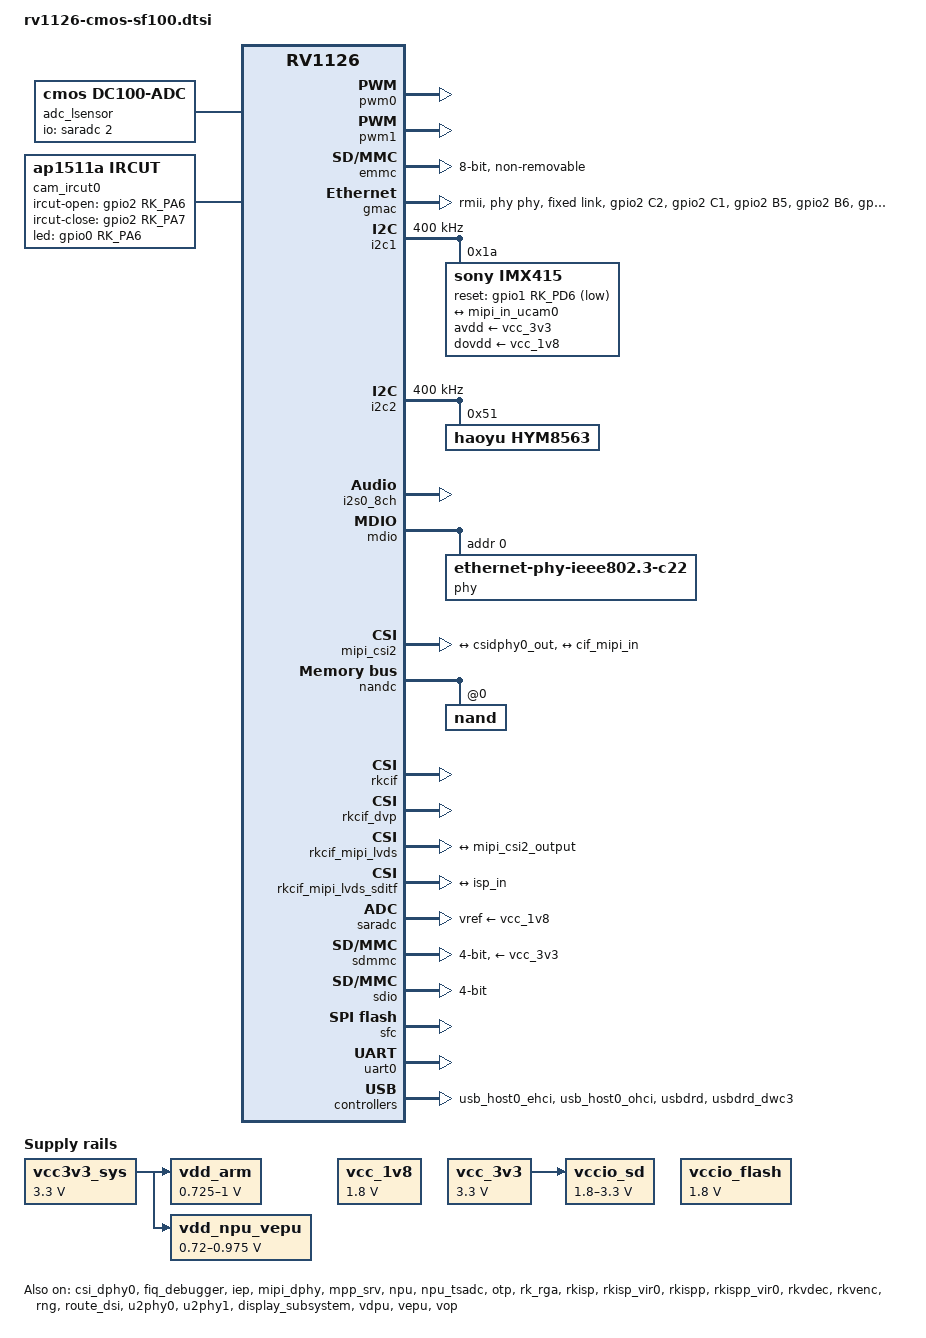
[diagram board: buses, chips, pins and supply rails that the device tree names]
// SPDX-License-Identifier: (GPL-2.0+ OR MIT)
/*
 * Copyright (c) 2023 Cmosmediatech Co., Ltd.
 */
#include <dt-bindings/display/drm_mipi_dsi.h>
#include <dt-bindings/input/input.h>

/ {
	chosen {
        bootargs = "earlycon=uart8250,mmio32,0xff570000 console=ttyFIQ0 root=PARTUUID=614e0000-0000 rootwait snd_aloop.index=7 vmalloc=400M";
	};

        vcc3v3_sys: vcc33sys {
		compatible = "regulator-fixed";
		regulator-name = "vcc3v3_sys";
		regulator-always-on;
		regulator-boot-on;
		regulator-min-microvolt = <3300000>;
		regulator-max-microvolt = <3300000>;
        regulator-state-mem {
			regulator-on-in-suspend;
			regulator-suspend-microvolt = <3300000>;
		};
	};

    vcc_1v8: vcc-1v8 {
		compatible = "regulator-fixed";
		regulator-name = "vcc_1v8";
		regulator-always-on;
		regulator-boot-on;
		regulator-min-microvolt = <1800000>;
		regulator-max-microvolt = <1800000>;
	};

    vcc_3v3: vcc-3v3 {
		compatible = "regulator-fixed";
		regulator-name = "vcc_3v3";
		regulator-always-on;
		regulator-boot-on;
		regulator-min-microvolt = <3300000>;
		regulator-max-microvolt = <3300000>;
	};

    vccio_flash: vccio-flash {
		compatible = "regulator-fixed";
		regulator-name = "vccio_flash";
		regulator-always-on;
		regulator-boot-on;
		regulator-min-microvolt = <1800000>;
		regulator-max-microvolt = <1800000>;
		//vin-supply = <&vcc_1v8>;
	};
    /*
    vccio_sd: vccio-sd {
		compatible = "regulator-fixed";
        regulator-always-on;
		regulator-boot-on;
		regulator-name = "vccio_sd";
		regulator-min-microvolt = <1800000>;
		regulator-max-microvolt = <3300000>;
		//gpios = <&gpio0 RK_PA5 GPIO_ACTIVE_HIGH>;
        //gpios = <&gpio1 RK_PB0 GPIO_ACTIVE_HIGH>;
		//states = <3300000 1 1800000 0>;
	};
    */
    vccio_sd: vccio-sd {
        compatible = "regulator-gpio";
        gpio = <&gpio2 RK_PD4 GPIO_ACTIVE_LOW>;
        pinctrl-names = "default";
        pinctrl-0 = <&sdmmc_pwr>;
        regulator-name = "vccio_sd";
        regulator-min-microvolt = <1800000>;
        regulator-max-microvolt = <3300000>;
        startup-delay-us = <100000>;
        vin-supply = <&vcc_3v3>;
        states = <3300000 0
			  1800000 1>;
    };
    /*
    vccio_sd: vccio-sd {
		compatible = "regulator-gpio";
		regulator-name = "vccio_sd";
		regulator-min-microvolt = <1800000>;
		regulator-max-microvolt = <3300000>;
		gpios = <&gpio2 RK_PD4 GPIO_ACTIVE_HIGH>;
		states = <3300000 1
			  1800000 0>;
	};
    */
    /*
    vccio_sd: vccio-sd {
		compatible = "regulator-fixed";
		regulator-name = "vccio_sd";
		regulator-min-microvolt = <3300000>;
		regulator-max-microvolt = <3300000>;
		//gpios = <&gpio0 RK_PA3 GPIO_ACTIVE_HIGH>;
		//states = <3300000 1
		//	  1800000 0>;
	};
    
	vcc_sd: vcc-sd {
		compatible = "regulator-fixed";
		//pinctrl-names = "default";
		//pinctrl-0 = <&vccsd_en>;
		regulator-name = "vcc_sd";
		regulator-min-microvolt = <3300000>;
		regulator-max-microvolt = <3300000>;
		//gpio = <&gpio2 RK_PD4 GPIO_ACTIVE_HIGH>;
	};
    */
    
    vdd_arm: vdd-arm {
		compatible = "pwm-regulator";
		pwms = <&pwm0 0 5000 1>;
		regulator-name = "vdd_arm";
		regulator-min-microvolt = <725000>;
		regulator-max-microvolt = <1000000>;
		regulator-init-microvolt = <824000>;
		regulator-always-on;
		regulator-boot-on;
		regulator-settling-time-up-us = <250>;
		pwm-supply = <&vcc3v3_sys>;
		status = "okay";
        regulator-state-mem {
			regulator-off-in-suspend;
		};
	};
    /*
    vdd_arm_fix: vdd-arm-fix {
		compatible = "regulator-fixed";
		regulator-name = "vdd_arm_fix";
		regulator-always-on;
		regulator-boot-on;
		regulator-min-microvolt = <1000000>;
		regulator-max-microvolt = <1000000>;
	};
    */
    
    /*
     vdd_arm: vdd-arm {
		compatible = "regulator-fixed";
		regulator-name = "vdd_arm";
		regulator-always-on;
		regulator-boot-on;
		regulator-min-microvolt = <1350000>;
		regulator-max-microvolt = <1350000>;
	};
    */

	vdd_npu_vepu: vdd-npu-vepu {
		compatible = "pwm-regulator";
		pwms = <&pwm1 0 5000 0>;
		regulator-name = "vdd_npu_vepu";
		//regulator-min-microvolt = <650000>;
		//regulator-max-microvolt = <950000>;
		//regulator-init-microvolt = <800000>;
        //regulator-min-microvolt = <720000>;
		//regulator-max-microvolt = <880000>;
		//regulator-init-microvolt = <825000>;
        regulator-min-microvolt = <720000>;
		regulator-max-microvolt = <975000>;
		regulator-init-microvolt = <824000>;
		regulator-always-on;
		regulator-boot-on;
		regulator-settling-time-up-us = <250>;
		pwm-supply = <&vcc3v3_sys>;
		status = "okay";
        regulator-state-mem {
    		regulator-off-in-suspend;
		};
	};
/*
    vdd_logic_npu_vepu_fixed: vdd-logic-npu-vepu-fixed {
		compatible = "regulator-fixed";
		regulator-name = "vdd_logic_npu_vepu-fixed";
		regulator-always-on;
		regulator-boot-on;
		//regulator-min-microvolt = <825000>;
		//regulator-max-microvolt = <825000>;
        regulator-min-microvolt = <950000>;
		regulator-max-microvolt = <950000>;
	};
    */

    adc_lsensor: adc-lsensor {
		status = "okay";
		compatible = "cmos,dc100-adc";
		io-channels = <&saradc 2>;
		io-channel-names = "lsensor";
		//poll-interval = <100>;
	};

    cam_ircut0: cam-ircut0 {
		status = "okay";
		compatible = "ap1511a,ircut";
        //pinctrl-names = "rockchip,ir_default";
        //pinctrl-0 = <&irled_en>;

		ircut-open-gpios = <&gpio2 RK_PA6 GPIO_ACTIVE_HIGH>;
		ircut-close-gpios  = <&gpio2 RK_PA7 GPIO_ACTIVE_HIGH>;
        led-gpios = <&gpio0 RK_PA6 GPIO_ACTIVE_HIGH>;
        //tof-gpios = <&gpio0 RK_PA7 GPIO_ACTIVE_HIGH>;
		rockchip,camera-module-index = <0>;
		rockchip,camera-module-facing = "front";
	};

};

&pwm0 {
	status = "okay";
    //status = "disabled";
	pinctrl-names = "active";
	pinctrl-0 = <&pwm0m0_pins_pull_down>;
};


&pwm1 {
	status = "okay";
    //status = "disabled";
	pinctrl-names = "active";
	pinctrl-0 = <&pwm1m0_pins_pull_down>;
};


&cpu0 {
	cpu-supply = <&vdd_arm>;
    //cpu-supply = <&vdd_arm_fix>;
    status = "okay";
};

&cpu_tsadc {
	//rockchip,hw-tshut-mode = <0>; /* tshut mode 0:CRU 1:GPIO */
	//rockchip,hw-tshut-polarity = <0>; /* tshut polarity 0:LOW 1:HIGH */
	//pinctrl-names = "gpio", "otpout";
	//pinctrl-0 = <&tsadcm0_shut>;
	//pinctrl-1 = <&tsadc_shutorg>;	
    status = "okay";
};

&csi_dphy0 {
	status = "okay";

	ports {
		#address-cells = <1>;
		#size-cells = <0>;
		port@0 {
			reg = <0>;
			#address-cells = <1>;
			#size-cells = <0>;

			mipi_in_ucam0: endpoint@1 {
				reg = <1>;
				remote-endpoint = <&ucam_out0>;
				data-lanes = <1 2 3 4>;
				//data-lanes = <1 2>;
			};
		};

		port@1 {
			reg = <1>;
			#address-cells = <1>;
			#size-cells = <0>;

			csidphy0_out: endpoint@0 {
				reg = <0>;
				remote-endpoint = <&mipi_csi2_input>;
				data-lanes = <1 2 3 4>;
				//data-lanes = <1 2>;
			};
		};
        
	};
};

&emmc {
	bus-width = <8>;
	cap-mmc-highspeed;
	non-removable;
	mmc-hs200-1_8v;
	rockchip,default-sample-phase = <90>;
	supports-emmc;
	/delete-property/ pinctrl-names;
	/delete-property/ pinctrl-0;
	status = "okay";
};

&fiq_debugger {
	status = "okay";
};

&gmac {
	phy-mode = "rmii";
	clock_in_out = "output";
 
	snps,reset-gpio = <&gpio2 RK_PB2 GPIO_ACTIVE_LOW>;
    //snps,reset-gpio = <&gpio2 RK_PC5 GPIO_ACTIVE_LOW>;
	snps,reset-active-low;
	snps,reset-delays-us = <0 50000 10000>;
	
	assigned-clocks = <&cru CLK_GMAC_SRC_M1>, <&cru CLK_GMAC_SRC>, <&cru CLK_GMAC_TX_RX>;
    //assigned-clocks = <&cru CLK_GMAC_SRC>, <&cru CLK_GMAC_TX_RX>, <&cru CLK_GMAC_ETHERNET_OUT>;
	assigned-clock-rates = <0>, <50000000>;
	assigned-clock-parents = <&cru CLK_GMAC_RGMII_M1>, <&cru CLK_GMAC_SRC_M1>, <&cru RMII_MODE_CLK>;
    //assigned-clock-parents = <&cru CLK_GMAC_SRC_M1>, <&cru RMII_MODE_CLK>;
	pinctrl-names = "default";
	pinctrl-0 = <&rmiim1_pins &gmac_clk_m1_pins &gmac_clk_m1_drv_level0_pins>; 
	
	tx_delay = <0x30>;
	rx_delay = <0x10>;

	phy-handle = <&phy>;
	status = "okay";
	
	fixed-link {
		speed = <100>;
		full-duplex;
	};
};

//cam
&i2c1 {
	status = "okay";
	clock-frequency = <400000>;
    //rockchip,pins = <0 RK_PA7 0 &pcfg_pull_up>;

	imx415: imx415@1a {
		compatible = "sony,imx415";
		reg = <0x1a>;
		clocks = <&cru CLK_MIPICSI_OUT>;
		clock-names = "xvclk";
		power-domains = <&power RV1126_PD_VI>;
		pinctrl-names = "rockchip,camera_default";
		pinctrl-0 = <&mipicsi_clk0>;
		pinctrl-1 = <&imx415_rst>;
        //pinctrl-2 = <&tof_en>;
        //rockchip,pins = <0 RK_PA7 0 &pcfg_pull_up>;

		avdd-supply = <&vcc_3v3>;    //3.3v
		dovdd-supply = <&vcc_1v8>;  //1.8v
		//dvdd-supply = <&vcc_dovdd>;    //1.2v

		//rockchip,pins = <1 RK_PD6 0 &pcfg_pull_up>;
		//pwdn-gpios = <&gpio1 RK_PD4 GPIO_ACTIVE_HIGH>;
		reset-gpios = <&gpio1 RK_PD6 GPIO_ACTIVE_LOW>;
		rockchip,camera-module-index = <0>;
		rockchip,camera-module-facing = "front";
		rockchip,camera-module-name = "YT-RK415-V1";
		rockchip,camera-module-lens-name = "IR0147-60IRC-8M-F20";
		ir-cut = <&cam_ircut0>;
		port {
			ucam_out0: endpoint {
				remote-endpoint = <&mipi_in_ucam0>;
				data-lanes = <1 2 3 4>;
				//data-lanes = <1 2>;
			};
		};
	};
};

//rtc
&i2c2 {
	status = "okay";
	pinctrl-names = "default";
	pinctrl-0 = <&i2c2_xfer>;
	clock-frequency = <400000>;
	i2c-scl-rising-time-ns = <138>;
	i2c-scl-falling-time-ns = <4>;
	
	hym8563: hym8563@51 {
		compatible = "haoyu,hym8563";
		reg = <0x51>;
		#clock-cells = <0>;
		status = "okay";
	};	
};

&i2s0_8ch {
	status = "okay";
	#sound-dai-cells = <0>;
	rockchip,clk-trcm = <1>;
	rockchip,i2s-rx-route = <3 1 2 0>;
	pinctrl-names = "default";
	pinctrl-0 = <&i2s0m0_sclk_tx
		     &i2s0m0_lrck_tx
		     &i2s0m0_sdo0
		     &i2s0m0_sdo1_sdi3>;
};

&iep {
	status = "okay";
};

&iep_mmu {
	status = "okay";
};


&mdio {
    status = "okay";
	phy: phy@0 {
        status = "okay";
		compatible = "ethernet-phy-ieee802.3-c22";
		reg = <0x0>;
		//clocks = <&cru CLK_GMAC_ETHERNET_OUT>;
	};
};

&mipi_csi2 {
	status = "okay";

	ports {
		#address-cells = <1>;
		#size-cells = <0>;

		port@0 {
			reg = <0>;
			#address-cells = <1>;
			#size-cells = <0>;

			mipi_csi2_input: endpoint@1 {
				reg = <1>;
				remote-endpoint = <&csidphy0_out>;
				data-lanes = <1 2 3 4>;
				//data-lanes = <1 2>;
			};
		};

		port@1 {
			reg = <1>;
			#address-cells = <1>;
			#size-cells = <0>;

			mipi_csi2_output: endpoint@0 {
				reg = <0>;
				remote-endpoint = <&cif_mipi_in>;
				data-lanes = <1 2 3 4>;
				//data-lanes = <1 2>;
			};
		};
	};
};

&mipi_dphy {
	status = "okay";
};

&mpp_srv {
	status = "okay";
};

&nandc {
	/delete-property/ pinctrl-names;
	/delete-property/ pinctrl-0;
	#address-cells = <1>;
	#size-cells = <0>;

	nand@0 {
		reg = <0>;
		nand-bus-width = <8>;
		nand-ecc-mode = "hw";
		nand-ecc-strength = <16>;
		nand-ecc-step-size = <1024>;
	};
};

&npu {
	npu-supply = <&vdd_npu_vepu>;
    //npu-supply = <&vdd_logic_npu_vepu_fixed>;
	status = "okay";
};

&npu_tsadc {
	status = "okay";
};

&optee {
	status = "disabled";
};

&otp {
	status = "okay";
};

&pdm {
	status = "disabled";
	#sound-dai-cells = <0>;
	pinctrl-names = "default";
	pinctrl-0 = <&pdmm0_clk
		     &pdmm0_clk1
		     &pdmm0_sdi0
		     &pdmm0_sdi1
		     &pdmm0_sdi2>;
};

&pinctrl {
    
    sdmmc-pwr {
		/omit-if-no-ref/
		sdmmc_pwr: sdmmc-pwr {
			rockchip,pins = <2 RK_PD4 RK_FUNC_GPIO &pcfg_pull_none>;
		};
	};
    
	

	sdio-pwrseq {
		/omit-if-no-ref/
		wifi_enable_h: wifi-enable-h {
			/*rockchip,pins = <1 RK_PD0 RK_FUNC_GPIO &pcfg_pull_up>;*/
            rockchip,pins = <1 RK_PD0 RK_FUNC_GPIO &pcfg_pull_none>;
		};
	};

	wireless-wlan {
		/omit-if-no-ref/
		wifi_wake_host: wifi-wake-host {
			/*rockchip,pins = <0 RK_PB0 0 &pcfg_pull_up>;*/
            rockchip,pins = <1 RK_PD1 0 &pcfg_pull_up>;
		};
	};

	imx415-rst {
		/omit-if-no-ref/
		imx415_rst: imx415_rst {
			rockchip,pins = <1 RK_PD6 0 &pcfg_pull_up>;
		};
	};

    irled-en {
		/omit-if-no-ref/
		irled_en: irled_en {
			rockchip,pins = <0 RK_PA6 0 &pcfg_pull_down>;
		};
	};

    rmii {
		/omit-if-no-ref/
		rmiim0_pins: rmiim0-pins {
			rockchip,pins =
				/* rmii_mdc_m0 */
				<3 RK_PC4 2 &pcfg_pull_none_drv_level_0>,
				/* rmii_mdio_m0 */
				<3 RK_PC3 2 &pcfg_pull_none>,
				/* rmii_rxd0_m0 */
				<3 RK_PB6 2 &pcfg_pull_none>,
				/* rmii_rxd1_m0 */
				<3 RK_PB7 2 &pcfg_pull_none>,
				/* rmii_rxdv_m0 */
				<3 RK_PC1 2 &pcfg_pull_none>,
				/* rmii_rxer_m0 */
				<3 RK_PC2 2 &pcfg_pull_none>,
				/* rmii_txd0_m0 */
				<3 RK_PB3 2 &pcfg_pull_none_drv_level_0>,
				/* rmii_txd1_m0 */
				<3 RK_PB4 2 &pcfg_pull_none_drv_level_0>,
				/* rmii_txen_m0 */
				<3 RK_PB5 2 &pcfg_pull_none_drv_level_0>;
		};
		/omit-if-no-ref/
		rmiim1_pins: rmiim1-pins {
			rockchip,pins =
				/* rmii_mdc_m1 */
				<2 RK_PC2 2 &pcfg_pull_none_drv_level_0>,
				/* rmii_mdio_m1 */
				<2 RK_PC1 2 &pcfg_pull_none>,
				/* rmii_rxd0_m1 */
				<2 RK_PB5 2 &pcfg_pull_none>,
				/* rmii_rxd1_m1 */
				<2 RK_PB6 2 &pcfg_pull_none>,
				/* rmii_rxdv_m1 */
				<2 RK_PB4 2 &pcfg_pull_none>,
				/* rmii_rxer_m1 */
                <2 RK_PC7 2 &pcfg_pull_none>,
				/* rmii_txd0_m1 */
				<2 RK_PC3 2 &pcfg_pull_none_drv_level_0>,
				/* rmii_txd1_m1 */
				<2 RK_PC4 2 &pcfg_pull_none_drv_level_0>,
				/* rmii_txen_m1 */
				<2 RK_PC6 2 &pcfg_pull_none_drv_level_0>;
		};
    };

    gmac_clk {
		/omit-if-no-ref/
		gmac_clk_m0_pins: gmac-clk-m0-pins {
			rockchip,pins =
				/* rgmii_clk_m0 */
				<3 RK_PC0 2 &pcfg_pull_none>;
		};
		/omit-if-no-ref/
		gmac_clk_m0_drv_level0_pins: gmac-clk-m0-drv-level0-pins {
			rockchip,pins =
				/* rgmii_clk_m0 */
				<3 RK_PC0 2 &pcfg_pull_none_drv_level_0>;
		};
		/omit-if-no-ref/
		gmac_clk_m0_drv_level3_pins: gmac-clk-m0-drv-level3-pins {
			rockchip,pins =
				/* rgmii_clk_m0 */
				<3 RK_PC0 2 &pcfg_pull_none_drv_level_3>;
		};
		/omit-if-no-ref/
		gmac_clk_m1_pins: gmac-clk-m1-pins {
			rockchip,pins =
				/* rgmii_clk_m1 */
				<2 RK_PB7 2 &pcfg_pull_none>;
		};
		/omit-if-no-ref/
		gmac_clk_m1_drv_level0_pins: gmac-clk-m1-drv-level0-pins {
			rockchip,pins =
				/* rgmii_clk_m1 */
				<2 RK_PB7 2 &pcfg_pull_none_drv_level_0>;
		};
		/omit-if-no-ref/
		gmac_clk_m1_drv_level3_pins: gmac-clk-m1-drv-level3-pins {
			rockchip,pins =
				/* rgmii_clk_m1 */
				<2 RK_PB7 2 &pcfg_pull_none>;
		};
	};
    
};

&pmu_io_domains {
	status = "okay";

	pmuio0-supply = <&vcc3v3_sys>;
	pmuio1-supply = <&vcc3v3_sys>;
    vccio1-supply = <&vccio_flash>;
	vccio2-supply = <&vccio_sd>;
    vccio3-supply = <&vcc_1v8>;
	vccio4-supply = <&vcc_1v8>;
	vccio5-supply = <&vcc_3v3>;
	//vccio6-supply = <&vcc_1v8>;
	//vccio7-supply = <&vcc_1v8>;
};

&ramoops {
	status = "okay";
};

&rk_rga {
	status = "okay";
};

&rkcif {
	status = "okay";
};

&rkcif_mmu {
	status = "disabled";
    //status = "okay";
};

&rkcif_dvp {
	status = "okay";

	port {
		/* Parallel bus endpoint */
		/*
		cif_para_in: endpoint {
			remote-endpoint = <&cam_para_out1>;
			bus-width = <12>;
			hsync-active = <1>;
			vsync-active = <0>;
		};
		*/
	};
};

&rkcif_mipi_lvds {
	status = "okay";

	port {
		/* MIPI CSI-2 endpoint */
		cif_mipi_in: endpoint {
			remote-endpoint = <&mipi_csi2_output>;
			data-lanes = <1 2 3 4>;
			//data-lanes = <1 2>;
		};
	};
};

&rkcif_mipi_lvds_sditf {
	status = "okay";

	port {
		// MIPI CSI-2 endpoint
		mipi_lvds_sditf: endpoint {
			remote-endpoint = <&isp_in>;
			data-lanes = <1 2 3 4>;
		};
	};
};

&rkisp {
	status = "okay";
};

&rkisp_vir0 {
	status = "okay";

	ports {
		port@0 {
			reg = <0>;
			#address-cells = <1>;
			#size-cells = <0>;

			isp_in: endpoint@0 {
				reg = <0>;
				remote-endpoint = <&mipi_lvds_sditf>;
			};
		};
	};
};


&rkisp_mmu {
	status = "disabled";
};

&rkispp {
	status = "okay";
	/* the max input w h and fps of mulit sensor */
	//max-input = <2688 1520 30>;
};

&rkispp_vir0 {
	status = "okay";
};


&rkispp_mmu {
	status = "okay";
};

&rkvdec {
	status = "okay";
};

&rkvdec_mmu {
	status = "okay";
};

&rkvenc {
	venc-supply = <&vdd_npu_vepu>;
	//venc-supply = <&vdd_logic_npu_vepu_fixed>;
    status = "okay";
};

&rkvenc_mmu {
	status = "okay";
};

&rng {
	status = "okay";
};
/*
&isp_reserved {
	size = <0x03c00000>;
};
*/
&rockchip_suspend {
	status = "okay";
	rockchip,sleep-debug-en = <1>;
	rockchip,sleep-mode-config = <
		(0
		| RKPM_SLP_ARMOFF
		| RKPM_SLP_PMU_PMUALIVE_32K
		| RKPM_SLP_PMU_DIS_OSC
		)
	>;
	rockchip,wakeup-config = <
		(0
		| RKPM_GPIO_WKUP_EN
		)
	>;
};


&route_dsi {
	status = "okay";
};

&saradc {
	status = "okay";
	vref-supply = <&vcc_1v8>;
};

&rkvenc_opp_table {
	/*
	 * max IR-drop values on different freq condition for this board!
	 */
	rockchip,board-irdrop = <
	     /* MHz	MHz	uV */
		500	594	50000
	>;
};




&sdmmc {
	bus-width = <4>;
	cap-mmc-highspeed;
	cap-sd-highspeed;
	card-detect-delay = <200>;
	rockchip,default-sample-phase = <90>;
	supports-sd;
	sd-uhs-sdr12;
	sd-uhs-sdr25;
	sd-uhs-sdr104;
    //no-1-8-v;
	vqmmc-supply = <&vccio_sd>;
	vmmc-supply = <&vcc_3v3>;
	status = "okay";
    //status = "disabled";
};


/*
&sdio {
	clock-frequency = <150000000>;
        clock-freq-min-max = <200000 150000000>;
	//max-frequency = <200000000>;
	bus-width = <4>;
	cap-sd-highspeed;
	cap-sdio-irq;
	keep-power-in-suspend;
	non-removable;
	rockchip,default-sample-phase = <90>;
	sd-uhs-sdr104;
	supports-sdio;
	mmc-pwrseq = <&sdio_pwrseq>;
	status = "okay";
};
*/

&sdio {
	max-frequency = <50000000>;
	bus-width = <4>;
	cap-sd-highspeed;
	cap-sdio-irq;
	keep-power-in-suspend;
	rockchip,default-sample-phase = <90>;
	supports-sdio;
	supports-chip-alive;
	logic-remove-card;
	status = "okay";
};


&u2phy0 {
	status = "okay";
	vup-gpios = <&gpio0 RK_PC1 GPIO_ACTIVE_LOW>;
	u2phy_otg: otg-port {
		status = "okay";
	};
};

&u2phy1 {
	status = "okay";
	u2phy_host: host-port {
		status = "okay";
		phy-supply = <&vcc_3v3>;
	};
};


&sfc {
	/delete-property/ pinctrl-names;
	/delete-property/ pinctrl-0;
	status = "okay";
};

&uart0 {
	pinctrl-names = "default";
	pinctrl-0 = <&uart0_xfer &uart0_ctsn>;
	status = "okay";
};

&display_subsystem {
	status = "okay";
};

&usb_host0_ehci {
	status = "okay";
};

&usb_host0_ohci {
	status = "okay";
};

&usbdrd {
	status = "okay";
};

&usbdrd_dwc3 {
	status = "okay";
	extcon = <&u2phy0>;
};

&vdpu {
	status = "okay";
};

&vepu {
	status = "okay";
};

&vpu_mmu {
	status = "okay";
};

&vop {
	status = "okay";
};

&vop_mmu {
	status = "okay";
};

